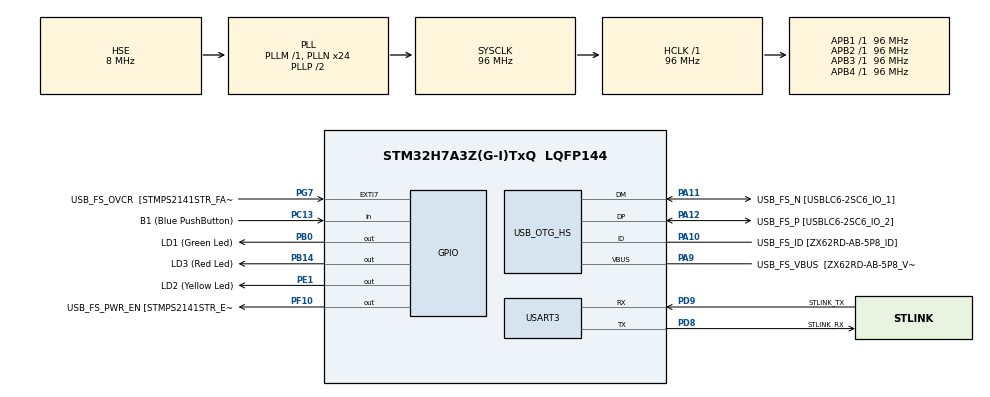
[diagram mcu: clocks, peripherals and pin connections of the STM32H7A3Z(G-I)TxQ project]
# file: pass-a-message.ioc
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FREERTOS.Tasks01=Listener,16,128,StartListener,Default,NULL,Dynamic,NULL,NULL;Speaker,24,128,StartSpeaker,Default,NULL,Dynamic,NULL,NULL
FREERTOS.configUSE_NEWLIB_REENTRANT=1
Mcu.Family=STM32H7
Mcu.Name=STM32H7A3Z(G-I)TxQ
Mcu.Package=LQFP144
NVIC.PriorityGroup=NVIC_PRIORITYGROUP_4
NVIC.TIM7_IRQn=true\:15\:0\:false\:false\:true\:false\:false\:true
NVIC.TimeBase=TIM7_IRQn
NVIC.TimeBaseIP=TIM7
PA10.GPIO_Label=USB_FS_ID [ZX62RD-AB-5P8_ID]
PA10.Mode=OTG/Dual-Role-Device-FS
PA10.Signal=USB_OTG_HS_ID
PA11.GPIO_Label=USB_FS_N [USBLC6-2SC6_IO_1]
PA11.Mode=OTG/Dual-Role-Device-FS
PA11.Signal=USB_OTG_HS_DM
PA12.GPIO_Label=USB_FS_P [USBLC6-2SC6_IO_2]
PA12.Mode=OTG/Dual-Role-Device-FS
PA12.Signal=USB_OTG_HS_DP
PA9.GPIO_Label=USB_FS_VBUS  [ZX62RD-AB-5P8_VBUS]
PA9.Mode=Activate_VBUS_FS
PA9.Signal=USB_OTG_HS_VBUS
PB0.GPIO_Label=LD1 (Green Led)
PB0.Signal=GPIO_Output
PB14.GPIO_Label=LD3 (Red Led)
PB14.Signal=GPIO_Output
PC13.GPIO_Label=B1 (Blue PushButton)
PC13.Signal=GPIO_Input
PC14-OSC32_IN.GPIO_Label=OSC32_IN
PC14-OSC32_IN.Mode=LSE-External-Oscillator
PC14-OSC32_IN.Signal=RCC_OSC32_IN
PC15-OSC32_OUT.GPIO_Label=OSC32_OUT
PC15-OSC32_OUT.Mode=LSE-External-Oscillator
PC15-OSC32_OUT.Signal=RCC_OSC32_OUT
PD8.GPIO_Label=STLINK_RX
PD8.Mode=Asynchronous
PD8.Signal=USART3_TX
PD9.GPIO_Label=STLINK_TX
PD9.Mode=Asynchronous
PD9.Signal=USART3_RX
PE1.GPIO_Label=LD2 (Yellow Led)
PE1.Signal=GPIO_Output
PF10.GPIO_Label=USB_FS_PWR_EN [STMPS2141STR_EN]
PF10.Signal=GPIO_Output
PG7.GPIO_Label=USB_FS_OVCR  [STMPS2141STR_FAULT]
PG7.Signal=GPXTI7
PH0-OSC_IN.GPIO_Label=PH0-MCU
PH0-OSC_IN.Mode=HSE-External-Clock-Source
PH0-OSC_IN.Signal=RCC_OSC_IN
PH1-OSC_OUT.GPIO_Label=PH1-MCU
PH1-OSC_OUT.Signal=RCC_OSC_OUT
ProjectManager.HeapSize=0x200
ProjectManager.StackSize=0x400
ProjectManager.TargetToolchain=STM32CubeIDE
RCC.ADCFreq_Value=16125000
RCC.APB1Freq_Value=96000000
RCC.APB2Freq_Value=96000000
RCC.APB3Freq_Value=96000000
RCC.APB4Freq_Value=96000000
RCC.CortexFreq_Value=96000000
RCC.DIVM1=1
RCC.DIVM3=1
RCC.DIVN1=24
RCC.DIVN3=24
RCC.DIVQ1=4
RCC.HCLKFreq_Value=96000000
RCC.HSE_VALUE=8000000
RCC.PLLFRACN=0
RCC.PLLSourceVirtual=RCC_PLLSOURCE_HSE
RCC.PWR_Regulator_Voltage_Scale=PWR_REGULATOR_VOLTAGE_SCALE0
RCC.SYSCLKFreq_VALUE=96000000
RCC.SYSCLKSource=RCC_SYSCLKSOURCE_PLLCLK
RCC.SupplySource=PWR_DIRECT_SMPS_SUPPLY
RCC.USBCLockSelection=RCC_USBCLKSOURCE_HSI48
RCC.USBFreq_Value=48000000
USART3.VirtualMode-Asynchronous=VM_ASYNC
VP_FREERTOS_VS_CMSIS_V2.Mode=CMSIS_V2
VP_SYS_VS_tim7.Mode=TIM7
board=NUCLEO-H7A3ZI-Q

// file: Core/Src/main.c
/* USER CODE BEGIN Header */
/**
  ******************************************************************************
  * @file           : main.c
  * @brief          : Main program body
  ******************************************************************************
  * @attention
  *
  * <h2><center>&copy; Copyright (c) 2022 STMicroelectronics.
  * All rights reserved.</center></h2>
  *
  * This software component is licensed by ST under BSD 3-Clause license,
  * the "License"; You may not use this file except in compliance with the
  * License. You may obtain a copy of the License at:
  *                        opensource.org/licenses/BSD-3-Clause
  *
  ******************************************************************************
  */
/* USER CODE END Header */
#include "main.h"
#include "cmsis_os.h"
#include "usart.h"
#include "usb_otg.h"
#include "gpio.h"

/* USER CODE BEGIN Includes */
#include "retarget.h"

/* USER CODE END Includes */

void SystemClock_Config(void);
void MX_FREERTOS_Init(void);

int main(void)
{

  /* MCU Configuration--------------------------------------------------------*/

  /* Reset of all peripherals, Initializes the Flash interface and the Systick. */
  HAL_Init();

  /* Configure the system clock */
  SystemClock_Config();

  /* Initialize all configured peripherals */
  MX_GPIO_Init();
  MX_USART3_UART_Init();
  MX_USB_OTG_HS_USB_Init();
  /* USER CODE BEGIN 2 */
  RetargetInit(&huart3);

  /* USER CODE END 2 */

  /* Init scheduler */
  osKernelInitialize();  /* Call init function for freertos objects (in freertos.c) */
  MX_FREERTOS_Init();
  /* Start scheduler */
  osKernelStart();

  /* We should never get here as control is now taken by the scheduler */
  /* Infinite loop */
  while (1)
  {

  }
}

void SystemClock_Config(void)
{
  RCC_OscInitTypeDef RCC_OscInitStruct = {0};
  RCC_ClkInitTypeDef RCC_ClkInitStruct = {0};

  /** Supply configuration update enable
  */
  HAL_PWREx_ConfigSupply(PWR_DIRECT_SMPS_SUPPLY);
  /** Configure the main internal regulator output voltage
  */
  __HAL_PWR_VOLTAGESCALING_CONFIG(PWR_REGULATOR_VOLTAGE_SCALE0);

  while(!__HAL_PWR_GET_FLAG(PWR_FLAG_VOSRDY)) {}
  /** Initializes the RCC Oscillators according to the specified parameters
  * in the RCC_OscInitTypeDef structure.
  */
  RCC_OscInitStruct.OscillatorType = RCC_OSCILLATORTYPE_HSI48|RCC_OSCILLATORTYPE_HSE;
  RCC_OscInitStruct.HSEState = RCC_HSE_BYPASS;
  RCC_OscInitStruct.HSI48State = RCC_HSI48_ON;
  RCC_OscInitStruct.PLL.PLLState = RCC_PLL_ON;
  RCC_OscInitStruct.PLL.PLLSource = RCC_PLLSOURCE_HSE;
  RCC_OscInitStruct.PLL.PLLM = 1;
  RCC_OscInitStruct.PLL.PLLN = 24;
  RCC_OscInitStruct.PLL.PLLP = 2;
  RCC_OscInitStruct.PLL.PLLQ = 4;
  RCC_OscInitStruct.PLL.PLLR = 2;
  RCC_OscInitStruct.PLL.PLLRGE = RCC_PLL1VCIRANGE_3;
  RCC_OscInitStruct.PLL.PLLVCOSEL = RCC_PLL1VCOWIDE;
  RCC_OscInitStruct.PLL.PLLFRACN = 0;
  if (HAL_RCC_OscConfig(&RCC_OscInitStruct) != HAL_OK)
  {
    Error_Handler();
  }
  /** Initializes the CPU, AHB and APB buses clocks
  */
  RCC_ClkInitStruct.ClockType = RCC_CLOCKTYPE_HCLK|RCC_CLOCKTYPE_SYSCLK
                              |RCC_CLOCKTYPE_PCLK1|RCC_CLOCKTYPE_PCLK2
                              |RCC_CLOCKTYPE_D3PCLK1|RCC_CLOCKTYPE_D1PCLK1;
  RCC_ClkInitStruct.SYSCLKSource = RCC_SYSCLKSOURCE_PLLCLK;
  RCC_ClkInitStruct.SYSCLKDivider = RCC_SYSCLK_DIV1;
  RCC_ClkInitStruct.AHBCLKDivider = RCC_HCLK_DIV1;
  RCC_ClkInitStruct.APB3CLKDivider = RCC_APB3_DIV1;
  RCC_ClkInitStruct.APB1CLKDivider = RCC_APB1_DIV1;
  RCC_ClkInitStruct.APB2CLKDivider = RCC_APB2_DIV1;
  RCC_ClkInitStruct.APB4CLKDivider = RCC_APB4_DIV1;

  if (HAL_RCC_ClockConfig(&RCC_ClkInitStruct, FLASH_LATENCY_2) != HAL_OK)
  {
    Error_Handler();
  }
}

void HAL_TIM_PeriodElapsedCallback(TIM_HandleTypeDef *htim)
{
  if (htim->Instance == TIM7) {
    HAL_IncTick();
  }
}

void Error_Handler(void)
{
  __disable_irq();
  while (1)
  {
  }
}

/************************ (C) COPYRIGHT STMicroelectronics *****END OF FILE****/

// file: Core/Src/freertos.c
/* USER CODE BEGIN Header */
/**
  ******************************************************************************
  * File Name          : freertos.c
  * Description        : Code for freertos applications
  ******************************************************************************
  * @attention
  *
  * <h2><center>&copy; Copyright (c) 2022 STMicroelectronics.
  * All rights reserved.</center></h2>
  *
  * This software component is licensed by ST under Ultimate Liberty license
  * SLA0044, the "License"; You may not use this file except in compliance with
  * the License. You may obtain a copy of the License at:
  *                             www.st.com/SLA0044
  *
  ******************************************************************************
  */
/* USER CODE END Header */

#include "FreeRTOS.h"
#include "task.h"
#include "main.h"
#include "cmsis_os.h"

/* USER CODE BEGIN Includes */
#include <stdlib.h>
#include <string.h>
/* USER CODE END Includes */

/* USER CODE BEGIN PD */
#define RX_BUFFER_LENGTH 100
/* USER CODE END PD */

/* USER CODE BEGIN Variables */
uint8_t rx_buffer[2];
uint8_t new_message_flag = 0;
uint8_t message_length;
extern UART_HandleTypeDef huart3;
uint8_t local_buffer[RX_BUFFER_LENGTH];

/* USER CODE END Variables */
/* Definitions for Listener */
osThreadId_t ListenerHandle;
const osThreadAttr_t Listener_attributes = {
  .name = "Listener",
  .stack_size = 128 * 4,
  .priority = (osPriority_t) osPriorityBelowNormal,
};
/* Definitions for Speaker */
osThreadId_t SpeakerHandle;
const osThreadAttr_t Speaker_attributes = {
  .name = "Speaker",
  .stack_size = 128 * 4,
  .priority = (osPriority_t) osPriorityNormal,
};

void StartListener(void *argument);
void StartSpeaker(void *argument);

void MX_FREERTOS_Init(void); /* (MISRA C 2004 rule 8.1) */

void MX_FREERTOS_Init(void) {

  /* Create the thread(s) */
  /* creation of Listener */
  ListenerHandle = osThreadNew(StartListener, NULL, &Listener_attributes);

  /* creation of Speaker */
  SpeakerHandle = osThreadNew(StartSpeaker, NULL, &Speaker_attributes);

}

void StartListener(void *argument)
{
  /* USER CODE BEGIN StartListener */
	uint8_t local_pointer = 0;
	/* Infinite loop */
  for(;;)
  {
	 HAL_StatusTypeDef ret = HAL_UART_Receive(&huart3,rx_buffer ,1, 100);
	 if(ret == HAL_OK){
		 local_buffer[local_pointer] = rx_buffer[0];
		 if(local_buffer[local_pointer] == '\n' || local_buffer[local_pointer] == '\r'){
			 new_message_flag = 1;
			 local_buffer[local_pointer+1 ] = '\n';
			 message_length = local_pointer;
			 local_pointer = 0;
		 }else{
			 local_pointer++;
			 if(local_pointer > RX_BUFFER_LENGTH){
				 local_pointer = 0;
			 }
		 }
	 }
    osDelay(100);
  }
  osThreadDetach(ListenerHandle);
  /* USER CODE END StartListener */
}

void StartSpeaker(void *argument)
{
  /* USER CODE BEGIN StartSpeaker */
  /* Infinite loop */
  for(;;)
  {
	  if (new_message_flag) {
		  HAL_UART_Transmit(&huart3, local_buffer, message_length, 100);
			 memset(local_buffer,0,RX_BUFFER_LENGTH);

		  new_message_flag = 0;
	}
	  osDelay(250);

  }
  /* USER CODE END StartSpeaker */
}

/************************ (C) COPYRIGHT STMicroelectronics *****END OF FILE****/
